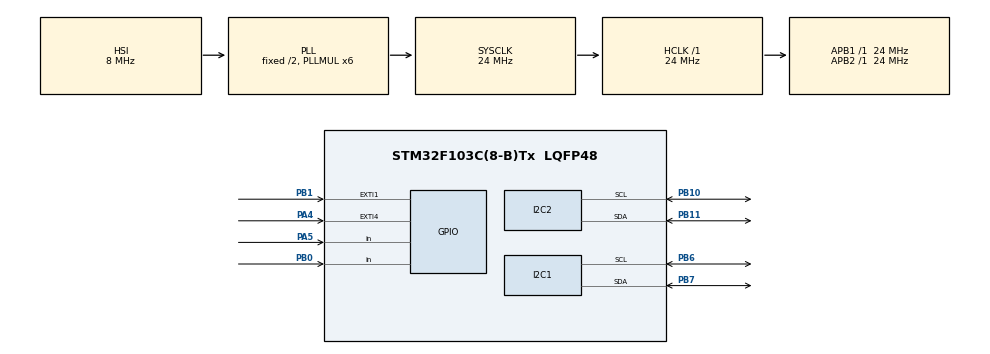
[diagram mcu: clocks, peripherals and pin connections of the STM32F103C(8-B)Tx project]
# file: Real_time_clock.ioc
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Mcu.Family=STM32F1
Mcu.Name=STM32F103C(8-B)Tx
Mcu.Package=LQFP48
NVIC.EXTI1_IRQn=true\:0\:0\:false\:false\:true\:true\:true\:true
NVIC.EXTI4_IRQn=true\:0\:0\:false\:false\:true\:true\:true\:true
NVIC.PriorityGroup=NVIC_PRIORITYGROUP_4
NVIC.TIM1_UP_IRQn=true\:0\:0\:false\:false\:true\:true\:true\:true
PA13.Mode=Serial_Wire
PA13.Signal=SYS_JTMS-SWDIO
PA14.Mode=Serial_Wire
PA14.Signal=SYS_JTCK-SWCLK
PA4.GPIO_PuPd=GPIO_PULLDOWN
PA4.Signal=GPXTI4
PA5.GPIO_PuPd=GPIO_PULLDOWN
PA5.Signal=GPIO_Input
PB0.GPIO_PuPd=GPIO_PULLDOWN
PB0.Signal=GPIO_Input
PB1.GPIO_ModeDefaultEXTI=GPIO_MODE_IT_RISING_FALLING
PB1.GPIO_PuPd=GPIO_PULLDOWN
PB1.Signal=GPXTI1
PB10.Mode=I2C
PB10.Signal=I2C2_SCL
PB11.Mode=I2C
PB11.Signal=I2C2_SDA
PB6.Mode=I2C
PB6.Signal=I2C1_SCL
PB7.Mode=I2C
PB7.Signal=I2C1_SDA
ProjectManager.HeapSize=0x200
ProjectManager.StackSize=0x400
ProjectManager.TargetToolchain=STM32CubeIDE
RCC.AHBFreq_Value=24000000
RCC.APB1Freq_Value=24000000
RCC.APB1TimFreq_Value=24000000
RCC.APB2Freq_Value=24000000
RCC.APB2TimFreq_Value=24000000
RCC.HCLKFreq_Value=24000000
RCC.PLLMUL=RCC_PLL_MUL6
RCC.SYSCLKFreq_VALUE=24000000
RCC.SYSCLKSource=RCC_SYSCLKSOURCE_PLLCLK
RCC.USBFreq_Value=24000000
TIM1.AutoReloadPreload=TIM_AUTORELOAD_PRELOAD_ENABLE
TIM1.Period=1000-1
TIM1.Prescaler=24000-1
VP_TIM1_VS_ClockSourceINT.Mode=Internal
board=custom

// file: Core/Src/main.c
/* USER CODE BEGIN Header */
/**
  ******************************************************************************
  * @file           : main.c
  * @brief          : Main program body
  ******************************************************************************
  * @attention
  *
  * Copyright (c) 2024 STMicroelectronics.
  * All rights reserved.
  *
  * This software is licensed under terms that can be found in the LICENSE file
  * in the root directory of this software component.
  * If no LICENSE file comes with this software, it is provided AS-IS.
  *
  ******************************************************************************
  */
/* USER CODE END Header */
#include "main.h"

/* USER CODE BEGIN Includes */
#include "HD44780.h"
#include "DS1307.h"
#include "use_mode.h"
/* USER CODE END Includes */

I2C_HandleTypeDef hi2c1;
I2C_HandleTypeDef hi2c2;

TIM_HandleTypeDef htim1;

/* USER CODE BEGIN PV */
uint8_t mode = 0;
/* USER CODE END PV */

void SystemClock_Config(void);
static void MX_GPIO_Init(void);
static void MX_I2C1_Init(void);
static void MX_I2C2_Init(void);
static void MX_TIM1_Init(void);

int main(void)
{

  /* MCU Configuration--------------------------------------------------------*/

  /* Reset of all peripherals, Initializes the Flash interface and the Systick. */
  HAL_Init();

  /* Configure the system clock */
  SystemClock_Config();

  /* Initialize all configured peripherals */
  MX_GPIO_Init();
  MX_I2C1_Init();
  MX_I2C2_Init();
  MX_TIM1_Init();
  /* USER CODE BEGIN 2 */

  HD44780_Init(2);

   /* Clear buffer */
   HD44780_Clear();

   DS1307_Init(&hi2c2);
   DS1307_SetTimeZone(+7, 00);
   DS1307_SetDate(07);
   DS1307_SetMonth(05);
   DS1307_SetYear(24);
   DS1307_SetDayOfWeek(3);
   DS1307_SetHour(0);
   DS1307_SetMinute(0);
   DS1307_SetSecond(00);

   //PB1:mode
   //PB0:Start/stop
   //PA5:Light
  /* USER CODE END 2 */

  /* Infinite loop */
  /* USER CODE BEGIN WHILE */
  while (1)
  {

	  switch(mode)
	  {
	  case 0:
		  Display();
		  break;
	  case 1:
		  Configuration();
		  break;
	  case 2:
		  Set_Alarm();
		  break;
	  case 3:
		  Stop_Watch();
		  break;
	  }
	  HAL_Delay(10);

    /* USER CODE END WHILE */

  }
}

void SystemClock_Config(void)
{
  RCC_OscInitTypeDef RCC_OscInitStruct = {0};
  RCC_ClkInitTypeDef RCC_ClkInitStruct = {0};

  /** Initializes the RCC Oscillators according to the specified parameters
  * in the RCC_OscInitTypeDef structure.
  */
  RCC_OscInitStruct.OscillatorType = RCC_OSCILLATORTYPE_HSI;
  RCC_OscInitStruct.HSIState = RCC_HSI_ON;
  RCC_OscInitStruct.HSICalibrationValue = RCC_HSICALIBRATION_DEFAULT;
  RCC_OscInitStruct.PLL.PLLState = RCC_PLL_ON;
  RCC_OscInitStruct.PLL.PLLSource = RCC_PLLSOURCE_HSI_DIV2;
  RCC_OscInitStruct.PLL.PLLMUL = RCC_PLL_MUL6;
  if (HAL_RCC_OscConfig(&RCC_OscInitStruct) != HAL_OK)
  {
    Error_Handler();
  }

  /** Initializes the CPU, AHB and APB buses clocks
  */
  RCC_ClkInitStruct.ClockType = RCC_CLOCKTYPE_HCLK|RCC_CLOCKTYPE_SYSCLK
                              |RCC_CLOCKTYPE_PCLK1|RCC_CLOCKTYPE_PCLK2;
  RCC_ClkInitStruct.SYSCLKSource = RCC_SYSCLKSOURCE_PLLCLK;
  RCC_ClkInitStruct.AHBCLKDivider = RCC_SYSCLK_DIV1;
  RCC_ClkInitStruct.APB1CLKDivider = RCC_HCLK_DIV1;
  RCC_ClkInitStruct.APB2CLKDivider = RCC_HCLK_DIV1;

  if (HAL_RCC_ClockConfig(&RCC_ClkInitStruct, FLASH_LATENCY_0) != HAL_OK)
  {
    Error_Handler();
  }
}

static void MX_I2C1_Init(void)
{

  hi2c1.Instance = I2C1;
  hi2c1.Init.ClockSpeed = 100000;
  hi2c1.Init.DutyCycle = I2C_DUTYCYCLE_2;
  hi2c1.Init.OwnAddress1 = 0;
  hi2c1.Init.AddressingMode = I2C_ADDRESSINGMODE_7BIT;
  hi2c1.Init.DualAddressMode = I2C_DUALADDRESS_DISABLE;
  hi2c1.Init.OwnAddress2 = 0;
  hi2c1.Init.GeneralCallMode = I2C_GENERALCALL_DISABLE;
  hi2c1.Init.NoStretchMode = I2C_NOSTRETCH_DISABLE;
  if (HAL_I2C_Init(&hi2c1) != HAL_OK)
  {
    Error_Handler();
  }

}

static void MX_I2C2_Init(void)
{

  hi2c2.Instance = I2C2;
  hi2c2.Init.ClockSpeed = 100000;
  hi2c2.Init.DutyCycle = I2C_DUTYCYCLE_2;
  hi2c2.Init.OwnAddress1 = 0;
  hi2c2.Init.AddressingMode = I2C_ADDRESSINGMODE_7BIT;
  hi2c2.Init.DualAddressMode = I2C_DUALADDRESS_DISABLE;
  hi2c2.Init.OwnAddress2 = 0;
  hi2c2.Init.GeneralCallMode = I2C_GENERALCALL_DISABLE;
  hi2c2.Init.NoStretchMode = I2C_NOSTRETCH_DISABLE;
  if (HAL_I2C_Init(&hi2c2) != HAL_OK)
  {
    Error_Handler();
  }

}

static void MX_TIM1_Init(void)
{

  TIM_ClockConfigTypeDef sClockSourceConfig = {0};
  TIM_MasterConfigTypeDef sMasterConfig = {0};

  htim1.Instance = TIM1;
  htim1.Init.Prescaler = 24000-1;
  htim1.Init.CounterMode = TIM_COUNTERMODE_UP;
  htim1.Init.Period = 1000-1;
  htim1.Init.ClockDivision = TIM_CLOCKDIVISION_DIV1;
  htim1.Init.RepetitionCounter = 0;
  htim1.Init.AutoReloadPreload = TIM_AUTORELOAD_PRELOAD_ENABLE;
  if (HAL_TIM_Base_Init(&htim1) != HAL_OK)
  {
    Error_Handler();
  }
  sClockSourceConfig.ClockSource = TIM_CLOCKSOURCE_INTERNAL;
  if (HAL_TIM_ConfigClockSource(&htim1, &sClockSourceConfig) != HAL_OK)
  {
    Error_Handler();
  }
  sMasterConfig.MasterOutputTrigger = TIM_TRGO_RESET;
  sMasterConfig.MasterSlaveMode = TIM_MASTERSLAVEMODE_DISABLE;
  if (HAL_TIMEx_MasterConfigSynchronization(&htim1, &sMasterConfig) != HAL_OK)
  {
    Error_Handler();
  }

}

static void MX_GPIO_Init(void)
{
  GPIO_InitTypeDef GPIO_InitStruct = {0};

  /* GPIO Ports Clock Enable */
  __HAL_RCC_GPIOA_CLK_ENABLE();
  __HAL_RCC_GPIOB_CLK_ENABLE();

  /*Configure GPIO pin : PA4 */
  GPIO_InitStruct.Pin = GPIO_PIN_4;
  GPIO_InitStruct.Mode = GPIO_MODE_IT_RISING;
  GPIO_InitStruct.Pull = GPIO_PULLDOWN;
  HAL_GPIO_Init(GPIOA, &GPIO_InitStruct);

  /*Configure GPIO pin : PA5 */
  GPIO_InitStruct.Pin = GPIO_PIN_5;
  GPIO_InitStruct.Mode = GPIO_MODE_INPUT;
  GPIO_InitStruct.Pull = GPIO_PULLDOWN;
  HAL_GPIO_Init(GPIOA, &GPIO_InitStruct);

  /*Configure GPIO pin : PB0 */
  GPIO_InitStruct.Pin = GPIO_PIN_0;
  GPIO_InitStruct.Mode = GPIO_MODE_INPUT;
  GPIO_InitStruct.Pull = GPIO_PULLDOWN;
  HAL_GPIO_Init(GPIOB, &GPIO_InitStruct);

  /*Configure GPIO pin : PB1 */
  GPIO_InitStruct.Pin = GPIO_PIN_1;
  GPIO_InitStruct.Mode = GPIO_MODE_IT_RISING_FALLING;
  GPIO_InitStruct.Pull = GPIO_PULLDOWN;
  HAL_GPIO_Init(GPIOB, &GPIO_InitStruct);

  /* EXTI interrupt init*/
  HAL_NVIC_SetPriority(EXTI1_IRQn, 0, 0);
  HAL_NVIC_EnableIRQ(EXTI1_IRQn);

  HAL_NVIC_SetPriority(EXTI4_IRQn, 0, 0);
  HAL_NVIC_EnableIRQ(EXTI4_IRQn);

}

void Error_Handler(void)
{
  __disable_irq();
  while (1)
  {
  }
}
